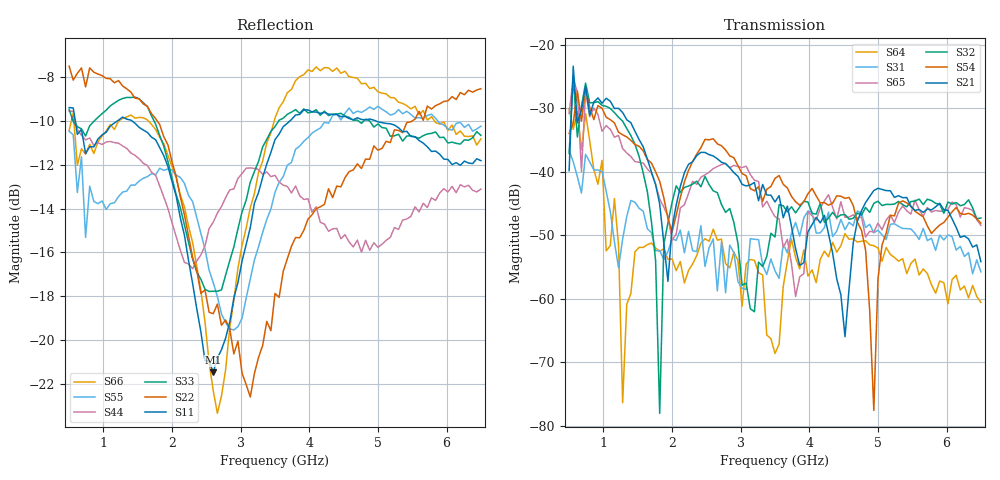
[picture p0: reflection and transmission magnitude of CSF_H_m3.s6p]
!Keysight Technologies,M9804A,MY58100912,A.14.10.03
!Date: Thursday, April 27, 2023 10:28:33
!Correction: S11(C  6-Port  )
!S12(C  6-Port  )
!S13(C  6-Port  )
!S14(C  6-Port  )
!S15(C  6-Port  )
!S16(C  6-Port  )
!S21(C  6-Port  )
!S22(C  6-Port  )
!S23(C  6-Port  )
!S24(C  6-Port  )
!S25(C  6-Port  )
!S26(C  6-Port  )
!S31(C  6-Port  )
!S32(C  6-Port  )
!S33(C  6-Port  )
!S34(C  6-Port  )
!S35(C  6-Port  )
!S36(C  6-Port  )
!S41(C  6-Port  )
!S42(C  6-Port  )
!S43(C  6-Port  )
!S44(C  6-Port  )
!S45(C  6-Port  )
!S46(C  6-Port  )
!S51(C  6-Port  )
!S52(C  6-Port  )
!S53(C  6-Port  )
!S54(C  6-Port  )
!S55(C  6-Port  )
!S56(C  6-Port  )
!S61(C  6-Port  )
!S62(C  6-Port  )
!S63(C  6-Port  )
!S64(C  6-Port  )
!S65(C  6-Port  )
!S66(C  6-Port  )
!S6P File: Measurement: :
# Hz S  RI  R 50
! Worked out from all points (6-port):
!   101 points, 500 MHz to 6.5 GHz, reference 50 ohm
!   strongest paths, dB at 500 MHz, 2 GHz, 3.5 GHz, 5 GHz, 6.5 GHz:
!     S21: -39.9, -48.8, -44.8, -42.6, -54.2
!     S54: -34.0, -49.5, -41.1, -57.0, -48.1
!     S32: -37.1, -44.9, -50.3, -44.7, -47.3
!     S65: -30.9, -50.8, -47.1, -48.1, -48.5
!     S31: -36.6, -50.6, -55.6, -49.2, -55.8
!     S64: -30.1, -53.7, -68.6, -52.0, -60.6
!   lowest |S11| = -21.5 dB at 2.6 GHz (marker M1), VSWR 1.18, Z = 42.5 + j2.17 ohm
!   |S11| at or under -10 dB: 590 MHz to 1.198 GHz (608.1 MHz wide, 68 % of centre); 1.421 GHz to 3.714 GHz (2.293 GHz wide, 89.3 % of centre); 4.976 GHz to end of sweep
